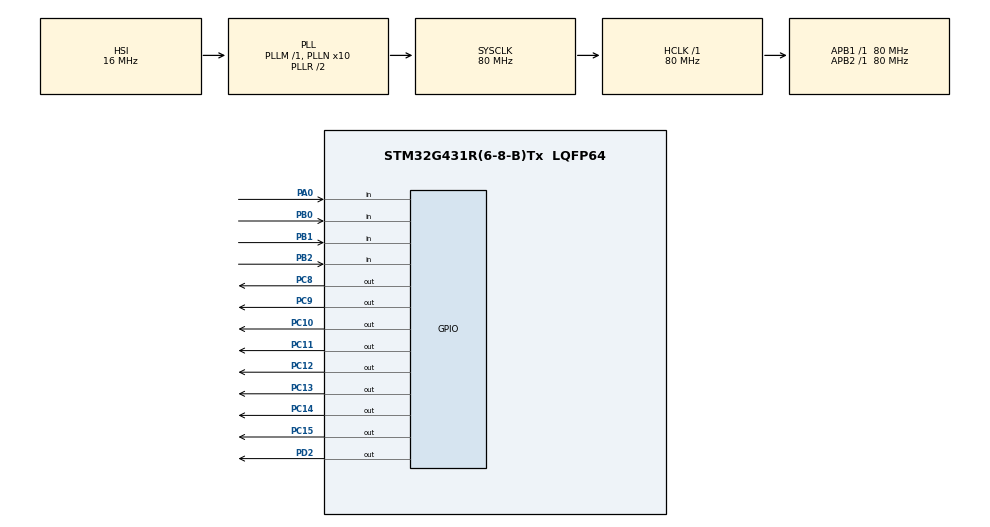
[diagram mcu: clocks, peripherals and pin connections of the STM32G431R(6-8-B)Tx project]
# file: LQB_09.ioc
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Mcu.Family=STM32G4
Mcu.Name=STM32G431R(6-8-B)Tx
Mcu.Package=LQFP64
NVIC.PriorityGroup=NVIC_PRIORITYGROUP_4
PA0.Signal=GPIO_Input
PA6.Signal=S_TIM3_CH1
PB0.Signal=GPIO_Input
PB1.Signal=GPIO_Input
PB2.Signal=GPIO_Input
PC10.PinState=GPIO_PIN_SET
PC10.Signal=GPIO_Output
PC11.PinState=GPIO_PIN_SET
PC11.Signal=GPIO_Output
PC12.PinState=GPIO_PIN_SET
PC12.Signal=GPIO_Output
PC13.PinState=GPIO_PIN_SET
PC13.Signal=GPIO_Output
PC14-OSC32_IN.PinState=GPIO_PIN_SET
PC14-OSC32_IN.Signal=GPIO_Output
PC15-OSC32_OUT.PinState=GPIO_PIN_SET
PC15-OSC32_OUT.Signal=GPIO_Output
PC8.PinState=GPIO_PIN_SET
PC8.Signal=GPIO_Output
PC9.PinState=GPIO_PIN_SET
PC9.Signal=GPIO_Output
PD2.Signal=GPIO_Output
ProjectManager.HeapSize=0x200
ProjectManager.StackSize=0x400
ProjectManager.TargetToolchain=MDK-ARM V5.32
RCC.ADC12Freq_Value=80000000
RCC.AHBFreq_Value=80000000
RCC.APB1Freq_Value=80000000
RCC.APB1TimFreq_Value=80000000
RCC.APB2Freq_Value=80000000
RCC.APB2TimFreq_Value=80000000
RCC.CortexFreq_Value=80000000
RCC.EXTERNAL_CLOCK_VALUE=12288000
RCC.HCLKFreq_Value=80000000
RCC.HSE_VALUE=8000000
RCC.HSI48_VALUE=48000000
RCC.HSI_VALUE=16000000
RCC.LSE_VALUE=32768
RCC.PLLN=10
RCC.SYSCLKFreq_VALUE=80000000
RCC.SYSCLKSource=RCC_SYSCLKSOURCE_PLLCLK
RCC.USBFreq_Value=80000000
RCC.VCOOutputFreq_Value=160000000
SH.S_TIM3_CH1.0=TIM3_CH1
TIM3.AutoReloadPreload=TIM_AUTORELOAD_PRELOAD_ENABLE
TIM3.Channel-PWM\ Generation1\ No\ Output=TIM_CHANNEL_1
TIM3.PeriodNoDither=999
TIM3.Prescaler=79
TIM3.PulseNoDither_1=800
VP_SYS_VS_DBSignals.Mode=DisableDeadBatterySignals
VP_TIM3_VS_ClockSourceINT.Mode=Internal
VP_TIM3_VS_no_output1.Mode=PWM Generation1 No Output
board=custom

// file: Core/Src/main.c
/* USER CODE BEGIN Header */
/**
  ******************************************************************************
  * @file           : main.c
  * @brief          : Main program body
  ******************************************************************************
  * @attention
  *
  * Copyright (c) 2022 STMicroelectronics.
  * All rights reserved.
  *
  * This software is licensed under terms that can be found in the LICENSE file
  * in the root directory of this software component.
  * If no LICENSE file comes with this software, it is provided AS-IS.
  *
  ******************************************************************************
  */
/* USER CODE END Header */
#include "main.h"
#include "tim.h"
#include "gpio.h"

/* USER CODE BEGIN Includes */
#include "lcd.h"
#include "i2c - hal.h"
#include "stdio.h"
#include "string.h"
/* USER CODE END Includes */

/* USER CODE BEGIN PV */
__IO uint32_t uwTick_Lcd_Set_point;
__IO uint32_t uwTick_Key_Set_point;
__IO uint32_t uwTick_Key_Long_Set_point;
__IO uint32_t uwTick_Sec_Set_point;
__IO uint32_t uwTick_Led_Set_point_1;
__IO uint32_t uwTick_Led_Set_point_2;

char pucStr_Disp[21];
unsigned long ulSec;
unsigned char pucStr[3];
unsigned char ucNum;
unsigned char ucHour, ucMinute, ucSecond;
unsigned char ucKey_Val, ucKey_Down, ucKey_Old, ucKey_Up;
unsigned char ucState, ucNo = 1;
unsigned char ucLed = 1;
/* USER CODE END PV */

void SystemClock_Config(void);
/* USER CODE BEGIN PFP */
void Lcd_Proc(void);
void Key_Proc(void);
void B3_Proc(void);
void Count_Proc(void);
void Led_Proc(void);
/* USER CODE END PFP */

int main(void)
{

  /* MCU Configuration--------------------------------------------------------*/

  /* Reset of all peripherals, Initializes the Flash interface and the Systick. */
  HAL_Init();

  /* Configure the system clock */
  SystemClock_Config();

  /* Initialize all configured peripherals */
  MX_GPIO_Init();
  MX_TIM3_Init();
  /* USER CODE BEGIN 2 */
	LCD_Init();
	LCD_Clear(White);
	LCD_SetBackColor(White);
	LCD_SetTextColor(Black);

	I2CInit();
	I2C_24C02_Read(pucStr, 0, 3);
	ucHour = pucStr[0];
	ucMinute = pucStr[1];
	ucSecond = pucStr[2];
	if(ucHour > 24)
		ucHour = 0;
	if(ucMinute > 60)
		ucMinute = 0;
	if(ucSecond > 60)
		ucSecond = 0;
  /* USER CODE END 2 */

  /* Infinite loop */
  while (1)
  {

    /* USER CODE BEGIN 3 */
		Lcd_Proc();
		Key_Proc();
		Count_Proc();
		Led_Proc();
  }
  /* USER CODE END 3 */
}

void SystemClock_Config(void)
{
  RCC_OscInitTypeDef RCC_OscInitStruct = {0};
  RCC_ClkInitTypeDef RCC_ClkInitStruct = {0};

  /** Configure the main internal regulator output voltage
  */
  HAL_PWREx_ControlVoltageScaling(PWR_REGULATOR_VOLTAGE_SCALE1);
  /** Initializes the RCC Oscillators according to the specified parameters
  * in the RCC_OscInitTypeDef structure.
  */
  RCC_OscInitStruct.OscillatorType = RCC_OSCILLATORTYPE_HSI;
  RCC_OscInitStruct.HSIState = RCC_HSI_ON;
  RCC_OscInitStruct.HSICalibrationValue = RCC_HSICALIBRATION_DEFAULT;
  RCC_OscInitStruct.PLL.PLLState = RCC_PLL_ON;
  RCC_OscInitStruct.PLL.PLLSource = RCC_PLLSOURCE_HSI;
  RCC_OscInitStruct.PLL.PLLM = RCC_PLLM_DIV1;
  RCC_OscInitStruct.PLL.PLLN = 10;
  RCC_OscInitStruct.PLL.PLLP = RCC_PLLP_DIV2;
  RCC_OscInitStruct.PLL.PLLQ = RCC_PLLQ_DIV2;
  RCC_OscInitStruct.PLL.PLLR = RCC_PLLR_DIV2;
  if (HAL_RCC_OscConfig(&RCC_OscInitStruct) != HAL_OK)
  {
    Error_Handler();
  }
  /** Initializes the CPU, AHB and APB buses clocks
  */
  RCC_ClkInitStruct.ClockType = RCC_CLOCKTYPE_HCLK|RCC_CLOCKTYPE_SYSCLK
                              |RCC_CLOCKTYPE_PCLK1|RCC_CLOCKTYPE_PCLK2;
  RCC_ClkInitStruct.SYSCLKSource = RCC_SYSCLKSOURCE_PLLCLK;
  RCC_ClkInitStruct.AHBCLKDivider = RCC_SYSCLK_DIV1;
  RCC_ClkInitStruct.APB1CLKDivider = RCC_HCLK_DIV1;
  RCC_ClkInitStruct.APB2CLKDivider = RCC_HCLK_DIV1;

  if (HAL_RCC_ClockConfig(&RCC_ClkInitStruct, FLASH_LATENCY_2) != HAL_OK)
  {
    Error_Handler();
  }
}

/* USER CODE BEGIN 4 */
void Lcd_Proc(void)
{
	if((uwTick - uwTick_Lcd_Set_point) < 100)
		return;

	uwTick_Lcd_Set_point = uwTick;

	sprintf((char*)pucStr_Disp, "        No.%1u      ", ucNo);
	LCD_DisplayStringLine(Line3, (u8*)pucStr_Disp);

	if(ucState == 1)
		LCD_SetBackColor(Red);
	LCD_DisplayChar(Line5, 224, ucHour / 10 + 0x30);
	LCD_DisplayChar(Line5, 208, ucHour % 10 + 0x30);
	LCD_SetBackColor(White);

	LCD_DisplayChar(Line5, 192, ':');

	if(ucState == 2)
		LCD_SetBackColor(Red);
	LCD_DisplayChar(Line5, 176, ucMinute / 10 + 0x30);
	LCD_DisplayChar(Line5, 160, ucMinute % 10 + 0x30);
	LCD_SetBackColor(White);

	LCD_DisplayChar(Line5, 144, ':');

	if(ucState == 3)
		LCD_SetBackColor(Red);
	LCD_DisplayChar(Line5, 128, ucSecond / 10 + 0x30);
	LCD_DisplayChar(Line5, 112, ucSecond % 10 + 0x30);
	LCD_SetBackColor(White);

	switch(ucState)
	{
		case 0:
			LCD_DisplayStringLine(Line7, (u8*)"      Standby.       ");
		break;

		case 1:
		case 2:
		case 3:
			LCD_DisplayStringLine(Line7, (u8*)"      Setting.       ");
		break;

		case 4:
			LCD_DisplayStringLine(Line7, (u8*)"      Running.      ");
		break;

		case 5:
			LCD_DisplayStringLine(Line7, (u8*)"       Pause.      ");
		break;
	}
}

void Key_Proc(void)
{
	if((uwTick - uwTick_Key_Set_point) < 50)
		return;

	uwTick_Key_Set_point = uwTick;

	ucKey_Val = Key_Scan();
	ucKey_Down = ucKey_Val & (ucKey_Old ^ ucKey_Val);
	ucKey_Up = ~ucKey_Val & (ucKey_Old ^ ucKey_Val);
	ucKey_Old = ucKey_Val;

	if(ucKey_Down > 0)
		uwTick_Key_Long_Set_point = uwTick;

	if((uwTick - uwTick_Key_Long_Set_point) <= 800)
	{
		switch(ucKey_Up)
		{
			case 1:
				if(!ucState)
				{
					if(++ucNo == 6)
						ucNo = 1;

					I2C_24C02_Read(pucStr, (ucNo - 1) * 3, 3);
					ucHour = pucStr[0];
					ucMinute = pucStr[1];
					ucSecond = pucStr[2];
				}
			break;

			case 2:
				ucNum = 0;
				if(!ucState)
					ucState = 1;
				else
				{
					if(ucState < 4)
						if(++ucState == 4)
							ucState = 1;
				}
			break;

			case 3:
				B3_Proc();
			break;

			case 4:
				if(ucNum)
				{
					if(ucState < 4)
						ulSec = ucHour * 3600 + ucMinute * 60 + ucSecond;
					if(ucState != 4)
					{
						ucState = 4;
					}
					else
						ucState = 5;
				}
			break;
		}
	}
	else
	{
		switch(ucKey_Val)
		{
			case 2:
				if(ucState == 1 || ucState == 2 || ucState == 3)
				{
					pucStr[0] = ucHour;
					pucStr[1] = ucMinute;
					pucStr[2] = ucSecond;
					I2C_24C02_Write(pucStr, (ucNo - 1) * 3, 3);
					ucState = 0;
					ucNum = 1;
				}
			break;

			case 3:
				B3_Proc();
			break;

			case 4:
				if(ucState == 4 || ucState == 5)
					ucState = 0;
			break;
		}
	}
}

void B3_Proc(void)
{
	switch(ucState)
	{
		case 1:
			if(++ucHour > 23)
				ucHour = 0;
		break;

		case 2:
			if(++ucMinute > 59)
				ucMinute = 0;
		break;

		case 3:
			if(++ucSecond > 59)
				ucSecond = 0;
		break;
	}
}

void Count_Proc(void)
{
	if(ucState == 4)
	{
		if((uwTick - uwTick_Sec_Set_point) >= 1000)
		{
			uwTick_Sec_Set_point = uwTick;
			ulSec--;

			ucHour = ulSec / 3600;
			ucMinute = ulSec % 3600 / 60;
			ucSecond = ulSec % 3600 % 60;
		}
	}
}

void Led_Proc(void)
{
	if((uwTick - uwTick_Led_Set_point_1) < 1000)
		return;

	uwTick_Led_Set_point_1 = uwTick;

	if(ucState == 4)
	{
		ucLed ^= 1;
		Led_Disp(ucLed);
	}
	else
	{
		ucLed = 0;
		Led_Disp(ucLed);
	}
}
/* USER CODE END 4 */

void Error_Handler(void)
{
  __disable_irq();
  while (1)
  {
  }
}
